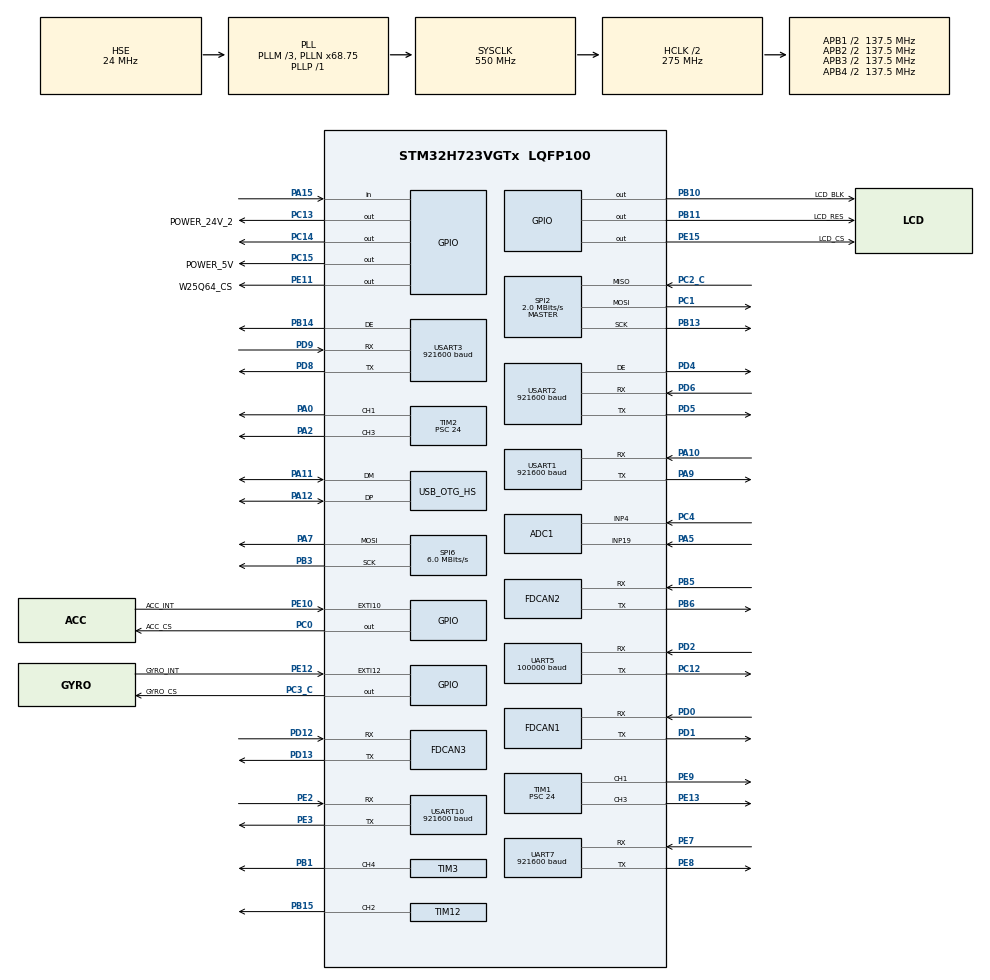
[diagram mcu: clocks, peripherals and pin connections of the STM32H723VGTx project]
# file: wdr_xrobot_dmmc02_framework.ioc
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ADC1.Channel-0\#ChannelRegularConversion=ADC_CHANNEL_4
ADC1.Channel-1\#ChannelRegularConversion=ADC_CHANNEL_19
ADC1.ClockPrescaler=ADC_CLOCK_ASYNC_DIV64
ADC1.ContinuousConvMode=ENABLE
ADC1.ConversionDataManagement=ADC_CONVERSIONDATA_DMA_CIRCULAR
ADC1.NbrOfConversion=2
ADC1.NbrOfConversionFlag=1
ADC1.OffsetNumber-0\#ChannelRegularConversion=ADC_OFFSET_NONE
ADC1.OffsetNumber-1\#ChannelRegularConversion=ADC_OFFSET_NONE
ADC1.OffsetSignedSaturation-0\#ChannelRegularConversion=DISABLE
ADC1.OffsetSignedSaturation-1\#ChannelRegularConversion=DISABLE
ADC1.Rank-0\#ChannelRegularConversion=1
ADC1.Rank-1\#ChannelRegularConversion=2
ADC1.SamplingTime-0\#ChannelRegularConversion=ADC_SAMPLETIME_32CYCLES_5
ADC1.SamplingTime-1\#ChannelRegularConversion=ADC_SAMPLETIME_32CYCLES_5
ADC1.master=1
ADC3.Channel-0\#ChannelRegularConversion=ADC_CHANNEL_TEMPSENSOR
ADC3.Channel-1\#ChannelRegularConversion=ADC_CHANNEL_VREFINT
ADC3.ClockPrescalerADC3=ADC_CLOCK_ASYNC_DIV4
ADC3.ContinuousConvMode=ENABLE
ADC3.ConversionDataManagement=ADC_CONVERSIONDATA_DMA_CIRCULAR
ADC3.DMAContinuousRequests=ENABLE
ADC3.NbrOfConversion=2
ADC3.NbrOfConversionFlag=1
ADC3.OffsetNumber-0\#ChannelRegularConversion=ADC_OFFSET_NONE
ADC3.OffsetNumber-1\#ChannelRegularConversion=ADC_OFFSET_NONE
ADC3.OffsetSign-0\#ChannelRegularConversion=ADC3_OFFSET_SIGN_NEGATIVE
ADC3.OffsetSign-1\#ChannelRegularConversion=ADC3_OFFSET_SIGN_NEGATIVE
ADC3.Rank-0\#ChannelRegularConversion=1
ADC3.Rank-1\#ChannelRegularConversion=2
ADC3.SamplingTime-0\#ChannelRegularConversion=ADC3_SAMPLETIME_247CYCLES_5
ADC3.SamplingTime-1\#ChannelRegularConversion=ADC3_SAMPLETIME_247CYCLES_5
Bdma.ADC3.1.Direction=DMA_PERIPH_TO_MEMORY
Bdma.ADC3.1.EventEnable=DISABLE
Bdma.ADC3.1.Instance=BDMA_Channel1
Bdma.ADC3.1.MemDataAlignment=DMA_MDATAALIGN_HALFWORD
Bdma.ADC3.1.MemInc=DMA_MINC_ENABLE
Bdma.ADC3.1.Mode=DMA_CIRCULAR
Bdma.ADC3.1.PeriphDataAlignment=DMA_PDATAALIGN_HALFWORD
Bdma.ADC3.1.PeriphInc=DMA_PINC_DISABLE
Bdma.ADC3.1.Polarity=HAL_DMAMUX_REQ_GEN_RISING
Bdma.ADC3.1.Priority=DMA_PRIORITY_LOW
Bdma.ADC3.1.RequestNumber=1
Bdma.ADC3.1.SignalID=NONE
Bdma.ADC3.1.SyncEnable=DISABLE
Bdma.ADC3.1.SyncPolarity=HAL_DMAMUX_SYNC_NO_EVENT
Bdma.ADC3.1.SyncRequestNumber=1
Bdma.ADC3.1.SyncSignalID=NONE
Bdma.Request0=SPI6_TX
Bdma.Request1=ADC3
Bdma.RequestsNb=2
Bdma.SPI6_TX.0.Direction=DMA_MEMORY_TO_PERIPH
Bdma.SPI6_TX.0.EventEnable=DISABLE
Bdma.SPI6_TX.0.Instance=BDMA_Channel0
Bdma.SPI6_TX.0.MemDataAlignment=DMA_MDATAALIGN_BYTE
Bdma.SPI6_TX.0.MemInc=DMA_MINC_ENABLE
Bdma.SPI6_TX.0.Mode=DMA_NORMAL
Bdma.SPI6_TX.0.PeriphDataAlignment=DMA_PDATAALIGN_BYTE
Bdma.SPI6_TX.0.PeriphInc=DMA_PINC_DISABLE
Bdma.SPI6_TX.0.Polarity=HAL_DMAMUX_REQ_GEN_RISING
Bdma.SPI6_TX.0.Priority=DMA_PRIORITY_LOW
Bdma.SPI6_TX.0.RequestNumber=1
Bdma.SPI6_TX.0.SignalID=NONE
Bdma.SPI6_TX.0.SyncEnable=DISABLE
Bdma.SPI6_TX.0.SyncPolarity=HAL_DMAMUX_SYNC_NO_EVENT
Bdma.SPI6_TX.0.SyncRequestNumber=1
Bdma.SPI6_TX.0.SyncSignalID=NONE
CORTEX_M7.CPU_DCache=Enabled
CORTEX_M7.CPU_ICache=Enabled
CORTEX_M7.Enable-Cortex_Memory_Protection_Unit_Region0_Settings=MPU_REGION_ENABLE
CORTEX_M7.MPU_Control=__NULL
CORTEX_M7.default_mode_Activation=1
DAC1.DAC_Channel-DAC_OUT2_Int=DAC_CHANNEL_2
Dma.ADC1.0.Direction=DMA_PERIPH_TO_MEMORY
Dma.ADC1.0.EventEnable=DISABLE
Dma.ADC1.0.FIFOMode=DMA_FIFOMODE_DISABLE
Dma.ADC1.0.Instance=DMA1_Stream0
Dma.ADC1.0.MemDataAlignment=DMA_MDATAALIGN_HALFWORD
Dma.ADC1.0.MemInc=DMA_MINC_ENABLE
Dma.ADC1.0.Mode=DMA_CIRCULAR
Dma.ADC1.0.PeriphDataAlignment=DMA_PDATAALIGN_HALFWORD
Dma.ADC1.0.PeriphInc=DMA_PINC_DISABLE
Dma.ADC1.0.Polarity=HAL_DMAMUX_REQ_GEN_RISING
Dma.ADC1.0.Priority=DMA_PRIORITY_LOW
Dma.ADC1.0.RequestNumber=1
Dma.ADC1.0.SignalID=NONE
Dma.ADC1.0.SyncEnable=DISABLE
Dma.ADC1.0.SyncPolarity=HAL_DMAMUX_SYNC_NO_EVENT
Dma.ADC1.0.SyncRequestNumber=1
Dma.ADC1.0.SyncSignalID=NONE
Dma.Request0=ADC1
Dma.Request1=SPI2_RX
Dma.Request10=USART3_TX
Dma.Request11=USART10_RX
Dma.Request12=USART10_TX
Dma.Request13=UART5_RX
Dma.Request2=SPI2_TX
Dma.Request3=UART7_RX
Dma.Request4=UART7_TX
Dma.Request5=USART1_RX
Dma.Request6=USART1_TX
Dma.Request7=USART2_RX
Dma.Request8=USART2_TX
Dma.Request9=USART3_RX
Dma.SPI2_RX.1.Direction=DMA_PERIPH_TO_MEMORY
Dma.SPI2_RX.1.EventEnable=DISABLE
Dma.SPI2_RX.1.FIFOMode=DMA_FIFOMODE_DISABLE
Dma.SPI2_RX.1.Instance=DMA1_Stream2
Dma.SPI2_RX.1.MemDataAlignment=DMA_MDATAALIGN_BYTE
Dma.SPI2_RX.1.MemInc=DMA_MINC_ENABLE
Dma.SPI2_RX.1.Mode=DMA_NORMAL
Dma.SPI2_RX.1.PeriphDataAlignment=DMA_PDATAALIGN_BYTE
Dma.SPI2_RX.1.PeriphInc=DMA_PINC_DISABLE
Dma.SPI2_RX.1.Polarity=HAL_DMAMUX_REQ_GEN_RISING
Dma.SPI2_RX.1.Priority=DMA_PRIORITY_LOW
Dma.SPI2_RX.1.RequestNumber=1
Dma.SPI2_RX.1.SignalID=NONE
Dma.SPI2_RX.1.SyncEnable=DISABLE
Dma.SPI2_RX.1.SyncPolarity=HAL_DMAMUX_SYNC_NO_EVENT
Dma.SPI2_RX.1.SyncRequestNumber=1
Dma.SPI2_RX.1.SyncSignalID=NONE
Dma.SPI2_TX.2.Direction=DMA_MEMORY_TO_PERIPH
Dma.SPI2_TX.2.EventEnable=DISABLE
Dma.SPI2_TX.2.FIFOMode=DMA_FIFOMODE_DISABLE
Dma.SPI2_TX.2.Instance=DMA1_Stream3
Dma.SPI2_TX.2.MemDataAlignment=DMA_MDATAALIGN_BYTE
Dma.SPI2_TX.2.MemInc=DMA_MINC_ENABLE
Dma.SPI2_TX.2.Mode=DMA_NORMAL
Dma.SPI2_TX.2.PeriphDataAlignment=DMA_PDATAALIGN_BYTE
Dma.SPI2_TX.2.PeriphInc=DMA_PINC_DISABLE
Dma.SPI2_TX.2.Polarity=HAL_DMAMUX_REQ_GEN_RISING
Dma.SPI2_TX.2.Priority=DMA_PRIORITY_LOW
Dma.SPI2_TX.2.RequestNumber=1
Dma.SPI2_TX.2.SignalID=NONE
Dma.SPI2_TX.2.SyncEnable=DISABLE
Dma.SPI2_TX.2.SyncPolarity=HAL_DMAMUX_SYNC_NO_EVENT
Dma.SPI2_TX.2.SyncRequestNumber=1
Dma.SPI2_TX.2.SyncSignalID=NONE
Dma.UART5_RX.13.Direction=DMA_PERIPH_TO_MEMORY
Dma.UART5_RX.13.EventEnable=DISABLE
Dma.UART5_RX.13.FIFOMode=DMA_FIFOMODE_DISABLE
Dma.UART5_RX.13.Instance=DMA1_Stream1
Dma.UART5_RX.13.MemDataAlignment=DMA_MDATAALIGN_BYTE
Dma.UART5_RX.13.MemInc=DMA_MINC_ENABLE
Dma.UART5_RX.13.Mode=DMA_NORMAL
Dma.UART5_RX.13.PeriphDataAlignment=DMA_PDATAALIGN_BYTE
Dma.UART5_RX.13.PeriphInc=DMA_PINC_DISABLE
Dma.UART5_RX.13.Polarity=HAL_DMAMUX_REQ_GEN_RISING
Dma.UART5_RX.13.Priority=DMA_PRIORITY_LOW
Dma.UART5_RX.13.RequestNumber=1
Dma.UART5_RX.13.SignalID=NONE
Dma.UART5_RX.13.SyncEnable=DISABLE
Dma.UART5_RX.13.SyncPolarity=HAL_DMAMUX_SYNC_NO_EVENT
Dma.UART5_RX.13.SyncRequestNumber=1
Dma.UART5_RX.13.SyncSignalID=NONE
Dma.UART7_RX.3.Direction=DMA_PERIPH_TO_MEMORY
Dma.UART7_RX.3.EventEnable=DISABLE
Dma.UART7_RX.3.FIFOMode=DMA_FIFOMODE_DISABLE
Dma.UART7_RX.3.Instance=DMA1_Stream4
Dma.UART7_RX.3.MemDataAlignment=DMA_MDATAALIGN_BYTE
Dma.UART7_RX.3.MemInc=DMA_MINC_ENABLE
Dma.UART7_RX.3.Mode=DMA_NORMAL
Dma.UART7_RX.3.PeriphDataAlignment=DMA_PDATAALIGN_BYTE
Dma.UART7_RX.3.PeriphInc=DMA_PINC_DISABLE
Dma.UART7_RX.3.Polarity=HAL_DMAMUX_REQ_GEN_RISING
Dma.UART7_RX.3.Priority=DMA_PRIORITY_LOW
Dma.UART7_RX.3.RequestNumber=1
Dma.UART7_RX.3.SignalID=NONE
Dma.UART7_RX.3.SyncEnable=DISABLE
Dma.UART7_RX.3.SyncPolarity=HAL_DMAMUX_SYNC_NO_EVENT
Dma.UART7_RX.3.SyncRequestNumber=1
Dma.UART7_RX.3.SyncSignalID=NONE
Dma.UART7_TX.4.Direction=DMA_MEMORY_TO_PERIPH
Dma.UART7_TX.4.EventEnable=DISABLE
Dma.UART7_TX.4.FIFOMode=DMA_FIFOMODE_DISABLE
Dma.UART7_TX.4.Instance=DMA1_Stream5
Dma.UART7_TX.4.MemDataAlignment=DMA_MDATAALIGN_BYTE
Dma.UART7_TX.4.MemInc=DMA_MINC_ENABLE
Dma.UART7_TX.4.Mode=DMA_NORMAL
Dma.UART7_TX.4.PeriphDataAlignment=DMA_PDATAALIGN_BYTE
Dma.UART7_TX.4.PeriphInc=DMA_PINC_DISABLE
Dma.UART7_TX.4.Polarity=HAL_DMAMUX_REQ_GEN_RISING
Dma.UART7_TX.4.Priority=DMA_PRIORITY_LOW
Dma.UART7_TX.4.RequestNumber=1
Dma.UART7_TX.4.SignalID=NONE
Dma.UART7_TX.4.SyncEnable=DISABLE
Dma.UART7_TX.4.SyncPolarity=HAL_DMAMUX_SYNC_NO_EVENT
Dma.UART7_TX.4.SyncRequestNumber=1
Dma.UART7_TX.4.SyncSignalID=NONE
Dma.USART10_RX.11.Direction=DMA_PERIPH_TO_MEMORY
Dma.USART10_RX.11.EventEnable=DISABLE
Dma.USART10_RX.11.FIFOMode=DMA_FIFOMODE_DISABLE
Dma.USART10_RX.11.Instance=DMA2_Stream4
Dma.USART10_RX.11.MemDataAlignment=DMA_MDATAALIGN_BYTE
Dma.USART10_RX.11.MemInc=DMA_MINC_ENABLE
Dma.USART10_RX.11.Mode=DMA_NORMAL
Dma.USART10_RX.11.PeriphDataAlignment=DMA_PDATAALIGN_BYTE
Dma.USART10_RX.11.PeriphInc=DMA_PINC_DISABLE
Dma.USART10_RX.11.Polarity=HAL_DMAMUX_REQ_GEN_RISING
Dma.USART10_RX.11.Priority=DMA_PRIORITY_LOW
Dma.USART10_RX.11.RequestNumber=1
Dma.USART10_RX.11.SignalID=NONE
Dma.USART10_RX.11.SyncEnable=DISABLE
Dma.USART10_RX.11.SyncPolarity=HAL_DMAMUX_SYNC_NO_EVENT
Dma.USART10_RX.11.SyncRequestNumber=1
Dma.USART10_RX.11.SyncSignalID=NONE
Dma.USART10_TX.12.Direction=DMA_MEMORY_TO_PERIPH
Dma.USART10_TX.12.EventEnable=DISABLE
Dma.USART10_TX.12.FIFOMode=DMA_FIFOMODE_DISABLE
Dma.USART10_TX.12.Instance=DMA2_Stream5
Dma.USART10_TX.12.MemDataAlignment=DMA_MDATAALIGN_BYTE
Dma.USART10_TX.12.MemInc=DMA_MINC_ENABLE
Dma.USART10_TX.12.Mode=DMA_NORMAL
Dma.USART10_TX.12.PeriphDataAlignment=DMA_PDATAALIGN_BYTE
Dma.USART10_TX.12.PeriphInc=DMA_PINC_DISABLE
Dma.USART10_TX.12.Polarity=HAL_DMAMUX_REQ_GEN_RISING
Dma.USART10_TX.12.Priority=DMA_PRIORITY_LOW
Dma.USART10_TX.12.RequestNumber=1
Dma.USART10_TX.12.SignalID=NONE
Dma.USART10_TX.12.SyncEnable=DISABLE
Dma.USART10_TX.12.SyncPolarity=HAL_DMAMUX_SYNC_NO_EVENT
Dma.USART10_TX.12.SyncRequestNumber=1
Dma.USART10_TX.12.SyncSignalID=NONE
Dma.USART1_RX.5.Direction=DMA_PERIPH_TO_MEMORY
Dma.USART1_RX.5.EventEnable=DISABLE
Dma.USART1_RX.5.FIFOMode=DMA_FIFOMODE_DISABLE
Dma.USART1_RX.5.Instance=DMA1_Stream6
Dma.USART1_RX.5.MemDataAlignment=DMA_MDATAALIGN_BYTE
Dma.USART1_RX.5.MemInc=DMA_MINC_ENABLE
Dma.USART1_RX.5.Mode=DMA_NORMAL
Dma.USART1_RX.5.PeriphDataAlignment=DMA_PDATAALIGN_BYTE
Dma.USART1_RX.5.PeriphInc=DMA_PINC_DISABLE
Dma.USART1_RX.5.Polarity=HAL_DMAMUX_REQ_GEN_RISING
Dma.USART1_RX.5.Priority=DMA_PRIORITY_LOW
Dma.USART1_RX.5.RequestNumber=1
Dma.USART1_RX.5.SignalID=NONE
Dma.USART1_RX.5.SyncEnable=DISABLE
Dma.USART1_RX.5.SyncPolarity=HAL_DMAMUX_SYNC_NO_EVENT
Dma.USART1_RX.5.SyncRequestNumber=1
Dma.USART1_RX.5.SyncSignalID=NONE
Dma.USART1_TX.6.Direction=DMA_MEMORY_TO_PERIPH
Dma.USART1_TX.6.EventEnable=DISABLE
Dma.USART1_TX.6.FIFOMode=DMA_FIFOMODE_DISABLE
Dma.USART1_TX.6.Instance=DMA1_Stream7
Dma.USART1_TX.6.MemDataAlignment=DMA_MDATAALIGN_BYTE
Dma.USART1_TX.6.MemInc=DMA_MINC_ENABLE
Dma.USART1_TX.6.Mode=DMA_NORMAL
Dma.USART1_TX.6.PeriphDataAlignment=DMA_PDATAALIGN_BYTE
Dma.USART1_TX.6.PeriphInc=DMA_PINC_DISABLE
Dma.USART1_TX.6.Polarity=HAL_DMAMUX_REQ_GEN_RISING
Dma.USART1_TX.6.Priority=DMA_PRIORITY_LOW
Dma.USART1_TX.6.RequestNumber=1
Dma.USART1_TX.6.SignalID=NONE
Dma.USART1_TX.6.SyncEnable=DISABLE
Dma.USART1_TX.6.SyncPolarity=HAL_DMAMUX_SYNC_NO_EVENT
Dma.USART1_TX.6.SyncRequestNumber=1
Dma.USART1_TX.6.SyncSignalID=NONE
Dma.USART2_RX.7.Direction=DMA_PERIPH_TO_MEMORY
Dma.USART2_RX.7.EventEnable=DISABLE
Dma.USART2_RX.7.FIFOMode=DMA_FIFOMODE_DISABLE
Dma.USART2_RX.7.Instance=DMA2_Stream0
Dma.USART2_RX.7.MemDataAlignment=DMA_MDATAALIGN_BYTE
Dma.USART2_RX.7.MemInc=DMA_MINC_ENABLE
Dma.USART2_RX.7.Mode=DMA_NORMAL
Dma.USART2_RX.7.PeriphDataAlignment=DMA_PDATAALIGN_BYTE
Dma.USART2_RX.7.PeriphInc=DMA_PINC_DISABLE
Dma.USART2_RX.7.Polarity=HAL_DMAMUX_REQ_GEN_RISING
Dma.USART2_RX.7.Priority=DMA_PRIORITY_LOW
Dma.USART2_RX.7.RequestNumber=1
Dma.USART2_RX.7.SignalID=NONE
Dma.USART2_RX.7.SyncEnable=DISABLE
Dma.USART2_RX.7.SyncPolarity=HAL_DMAMUX_SYNC_NO_EVENT
Dma.USART2_RX.7.SyncRequestNumber=1
Dma.USART2_RX.7.SyncSignalID=NONE
Dma.USART2_TX.8.Direction=DMA_MEMORY_TO_PERIPH
Dma.USART2_TX.8.EventEnable=DISABLE
Dma.USART2_TX.8.FIFOMode=DMA_FIFOMODE_DISABLE
Dma.USART2_TX.8.Instance=DMA2_Stream1
Dma.USART2_TX.8.MemDataAlignment=DMA_MDATAALIGN_BYTE
Dma.USART2_TX.8.MemInc=DMA_MINC_ENABLE
Dma.USART2_TX.8.Mode=DMA_NORMAL
Dma.USART2_TX.8.PeriphDataAlignment=DMA_PDATAALIGN_BYTE
Dma.USART2_TX.8.PeriphInc=DMA_PINC_DISABLE
Dma.USART2_TX.8.Polarity=HAL_DMAMUX_REQ_GEN_RISING
Dma.USART2_TX.8.Priority=DMA_PRIORITY_LOW
Dma.USART2_TX.8.RequestNumber=1
Dma.USART2_TX.8.SignalID=NONE
Dma.USART2_TX.8.SyncEnable=DISABLE
Dma.USART2_TX.8.SyncPolarity=HAL_DMAMUX_SYNC_NO_EVENT
Dma.USART2_TX.8.SyncRequestNumber=1
Dma.USART2_TX.8.SyncSignalID=NONE
Dma.USART3_RX.9.Direction=DMA_PERIPH_TO_MEMORY
Dma.USART3_RX.9.EventEnable=DISABLE
Dma.USART3_RX.9.FIFOMode=DMA_FIFOMODE_DISABLE
Dma.USART3_RX.9.Instance=DMA2_Stream2
Dma.USART3_RX.9.MemDataAlignment=DMA_MDATAALIGN_BYTE
Dma.USART3_RX.9.MemInc=DMA_MINC_ENABLE
Dma.USART3_RX.9.Mode=DMA_NORMAL
Dma.USART3_RX.9.PeriphDataAlignment=DMA_PDATAALIGN_BYTE
Dma.USART3_RX.9.PeriphInc=DMA_PINC_DISABLE
Dma.USART3_RX.9.Polarity=HAL_DMAMUX_REQ_GEN_RISING
Dma.USART3_RX.9.Priority=DMA_PRIORITY_LOW
Dma.USART3_RX.9.RequestNumber=1
Dma.USART3_RX.9.SignalID=NONE
Dma.USART3_RX.9.SyncEnable=DISABLE
Dma.USART3_RX.9.SyncPolarity=HAL_DMAMUX_SYNC_NO_EVENT
Dma.USART3_RX.9.SyncRequestNumber=1
Dma.USART3_RX.9.SyncSignalID=NONE
Dma.USART3_TX.10.Direction=DMA_MEMORY_TO_PERIPH
Dma.USART3_TX.10.EventEnable=DISABLE
Dma.USART3_TX.10.FIFOMode=DMA_FIFOMODE_DISABLE
Dma.USART3_TX.10.Instance=DMA2_Stream3
Dma.USART3_TX.10.MemDataAlignment=DMA_MDATAALIGN_BYTE
Dma.USART3_TX.10.MemInc=DMA_MINC_ENABLE
Dma.USART3_TX.10.Mode=DMA_NORMAL
Dma.USART3_TX.10.PeriphDataAlignment=DMA_PDATAALIGN_BYTE
Dma.USART3_TX.10.PeriphInc=DMA_PINC_DISABLE
Dma.USART3_TX.10.Polarity=HAL_DMAMUX_REQ_GEN_RISING
Dma.USART3_TX.10.Priority=DMA_PRIORITY_LOW
Dma.USART3_TX.10.RequestNumber=1
Dma.USART3_TX.10.SignalID=NONE
Dma.USART3_TX.10.SyncEnable=DISABLE
Dma.USART3_TX.10.SyncPolarity=HAL_DMAMUX_SYNC_NO_EVENT
Dma.USART3_TX.10.SyncRequestNumber=1
Dma.USART3_TX.10.SyncSignalID=NONE
FDCAN1.CalculateBaudRateNominal=999999
FDCAN1.CalculateTimeBitNominal=1000
FDCAN1.CalculateTimeQuantumNominal=90.90909090909092
FDCAN1.DataPrescaler=1
FDCAN1.DataSyncJumpWidth=1
FDCAN1.DataTimeSeg1=9
FDCAN1.DataTimeSeg2=1
FDCAN1.ExtFiltersNbr=1
FDCAN1.FrameFormat=FDCAN_FRAME_FD_BRS
FDCAN1.MessageRAMOffset=0
FDCAN1.NominalPrescaler=5
FDCAN1.NominalSyncJumpWidth=1
FDCAN1.NominalTimeSeg1=9
FDCAN1.NominalTimeSeg2=1
FDCAN1.RxBufferSize=FDCAN_DATA_BYTES_64
FDCAN1.RxBuffersNbr=0
FDCAN1.RxFifo0ElmtSize=FDCAN_DATA_BYTES_64
FDCAN1.RxFifo0ElmtsNbr=23
FDCAN1.RxFifo1ElmtSize=FDCAN_DATA_BYTES_64
FDCAN1.RxFifo1ElmtsNbr=0
FDCAN1.StdFiltersNbr=1
FDCAN1.TxElmtSize=FDCAN_DATA_BYTES_64
FDCAN1.TxFifoQueueElmtsNbr=23
FDCAN2.CalculateBaudRateNominal=999999
FDCAN2.CalculateTimeBitNominal=1000
FDCAN2.CalculateTimeQuantumNominal=90.90909090909092
FDCAN2.DataPrescaler=1
FDCAN2.DataSyncJumpWidth=1
FDCAN2.DataTimeSeg1=9
FDCAN2.DataTimeSeg2=1
FDCAN2.ExtFiltersNbr=1
FDCAN2.FrameFormat=FDCAN_FRAME_FD_BRS
FDCAN2.MessageRAMOffset=831
FDCAN2.NominalPrescaler=5
FDCAN2.NominalSyncJumpWidth=1
FDCAN2.NominalTimeSeg1=9
FDCAN2.NominalTimeSeg2=1
FDCAN2.RxBufferSize=FDCAN_DATA_BYTES_64
FDCAN2.RxBuffersNbr=0
FDCAN2.RxFifo0ElmtSize=FDCAN_DATA_BYTES_64
FDCAN2.RxFifo0ElmtsNbr=0
FDCAN2.RxFifo1ElmtSize=FDCAN_DATA_BYTES_64
FDCAN2.RxFifo1ElmtsNbr=23
FDCAN2.StdFiltersNbr=1
FDCAN2.TxBuffersNbr=0
FDCAN2.TxElmtSize=FDCAN_DATA_BYTES_64
FDCAN2.TxFifoQueueElmtsNbr=23
FDCAN3.CalculateBaudRateNominal=999999
FDCAN3.CalculateTimeBitNominal=1000
FDCAN3.CalculateTimeQuantumNominal=90.90909090909092
FDCAN3.DataPrescaler=1
FDCAN3.DataSyncJumpWidth=1
FDCAN3.DataTimeSeg1=9
FDCAN3.DataTimeSeg2=1
FDCAN3.ExtFiltersNbr=1
FDCAN3.FrameFormat=FDCAN_FRAME_FD_BRS
FDCAN3.MessageRAMOffset=1662
FDCAN3.Mode=FDCAN_MODE_NORMAL
FDCAN3.NominalPrescaler=5
FDCAN3.NominalSyncJumpWidth=1
FDCAN3.NominalTimeSeg1=9
FDCAN3.NominalTimeSeg2=1
FDCAN3.RxBufferSize=FDCAN_DATA_BYTES_64
FDCAN3.RxBuffersNbr=0
FDCAN3.RxFifo0ElmtSize=FDCAN_DATA_BYTES_64
FDCAN3.RxFifo0ElmtsNbr=0
FDCAN3.RxFifo1ElmtSize=FDCAN_DATA_BYTES_64
FDCAN3.RxFifo1ElmtsNbr=23
FDCAN3.StdFiltersNbr=1
FDCAN3.TxBuffersNbr=0
FDCAN3.TxElmtSize=FDCAN_DATA_BYTES_64
FDCAN3.TxFifoQueueElmtsNbr=23
FREERTOS.INCLUDE_eTaskGetState=1
FREERTOS.INCLUDE_uxTaskGetStackHighWaterMark=1
FREERTOS.INCLUDE_vTaskDelayUntil=1
FREERTOS.INCLUDE_xQueueGetMutexHolder=1
FREERTOS.INCLUDE_xTaskGetCurrentTaskHandle=1
FREERTOS.INCLUDE_xTaskGetSchedulerState=1
FREERTOS.INCLUDE_xTimerPendFunctionCall=0
FREERTOS.Tasks01=defaultTask,48,2048,StartDefaultTask,Default,NULL,Dynamic,NULL,NULL
FREERTOS.configCHECK_FOR_STACK_OVERFLOW=2
FREERTOS.configENABLE_BACKWARD_COMPATIBILITY=0
FREERTOS.configENABLE_FPU=1
FREERTOS.configRECORD_STACK_HIGH_ADDRESS=1
FREERTOS.configTOTAL_HEAP_SIZE=0x16800
FREERTOS.configUSE_COUNTING_SEMAPHORES=1
FREERTOS.configUSE_RECURSIVE_MUTEXES=1
FREERTOS.configUSE_TASK_NOTIFICATIONS=1
FREERTOS.configUSE_TIMERS=0
FREERTOS.configUSE_TRACE_FACILITY=1
Mcu.Family=STM32H7
Mcu.Name=STM32H723VGTx
Mcu.Package=LQFP100
NVIC.BDMA_Channel0_IRQn=true\:5\:0\:false\:false\:true\:true\:false\:true\:true
NVIC.BDMA_Channel1_IRQn=true\:5\:0\:true\:false\:true\:true\:true\:true\:true
NVIC.DMA1_Stream0_IRQn=true\:5\:0\:false\:false\:true\:false\:false\:true\:true
NVIC.DMA1_Stream1_IRQn=true\:5\:0\:false\:false\:true\:true\:false\:true\:true
NVIC.DMA1_Stream2_IRQn=true\:5\:0\:false\:false\:true\:true\:false\:true\:true
NVIC.DMA1_Stream3_IRQn=true\:5\:0\:false\:false\:true\:true\:false\:true\:true
NVIC.DMA1_Stream4_IRQn=true\:5\:0\:false\:false\:true\:true\:false\:true\:true
NVIC.DMA1_Stream5_IRQn=true\:5\:0\:false\:false\:true\:true\:false\:true\:true
NVIC.DMA1_Stream6_IRQn=true\:5\:0\:false\:false\:true\:true\:false\:true\:true
NVIC.DMA1_Stream7_IRQn=true\:5\:0\:false\:false\:true\:true\:false\:true\:true
NVIC.DMA2_Stream0_IRQn=true\:5\:0\:false\:false\:true\:true\:false\:true\:true
NVIC.DMA2_Stream1_IRQn=true\:5\:0\:false\:false\:true\:true\:false\:true\:true
NVIC.DMA2_Stream2_IRQn=true\:5\:0\:false\:false\:true\:true\:false\:true\:true
NVIC.DMA2_Stream3_IRQn=true\:5\:0\:false\:false\:true\:true\:false\:true\:true
NVIC.DMA2_Stream4_IRQn=true\:5\:0\:false\:false\:true\:true\:false\:true\:true
NVIC.DMA2_Stream5_IRQn=true\:5\:0\:false\:false\:true\:true\:false\:true\:true
NVIC.EXTI15_10_IRQn=true\:5\:0\:true\:false\:true\:true\:true\:true\:true
NVIC.FDCAN1_IT0_IRQn=true\:5\:0\:false\:false\:true\:true\:true\:true\:true
NVIC.FDCAN1_IT1_IRQn=true\:5\:0\:false\:false\:true\:true\:true\:true\:true
NVIC.FDCAN2_IT0_IRQn=true\:5\:0\:false\:false\:true\:true\:true\:true\:true
NVIC.FDCAN2_IT1_IRQn=true\:5\:0\:false\:false\:true\:true\:true\:true\:true
NVIC.FDCAN3_IT0_IRQn=true\:5\:0\:false\:false\:true\:true\:true\:true\:true
NVIC.FDCAN3_IT1_IRQn=true\:5\:0\:false\:false\:true\:true\:true\:true\:true
NVIC.OTG_HS_IRQn=true\:5\:0\:false\:false\:true\:true\:true\:true\:true
NVIC.PriorityGroup=NVIC_PRIORITYGROUP_4
NVIC.SPI2_IRQn=true\:5\:0\:false\:false\:true\:true\:false\:true\:true
NVIC.SPI6_IRQn=true\:5\:0\:false\:false\:true\:true\:true\:true\:true
NVIC.TIM4_IRQn=true\:0\:0\:false\:false\:true\:false\:false\:true\:true
NVIC.TimeBase=TIM4_IRQn
NVIC.TimeBaseIP=TIM4
NVIC.UART5_IRQn=true\:5\:0\:false\:false\:true\:true\:true\:true\:true
NVIC.UART7_IRQn=true\:5\:0\:true\:false\:true\:false\:true\:true\:true
NVIC.USART10_IRQn=true\:5\:0\:true\:false\:true\:false\:true\:true\:true
NVIC.USART1_IRQn=true\:5\:0\:true\:false\:true\:false\:true\:true\:true
NVIC.USART2_IRQn=true\:5\:0\:true\:false\:true\:false\:true\:true\:true
NVIC.USART3_IRQn=true\:5\:0\:true\:false\:true\:false\:true\:true\:true
PA0.Signal=S_TIM2_CH1_ETR
PA10.Mode=Asynchronous
PA10.Signal=USART1_RX
PA11.Mode=Device_Only_FS
PA11.Signal=USB_OTG_HS_DM
PA12.Mode=Device_Only_FS
PA12.Signal=USB_OTG_HS_DP
PA13(JTMS/SWDIO).Mode=Serial_Wire
PA13(JTMS/SWDIO).Signal=DEBUG_JTMS-SWDIO
PA14(JTCK/SWCLK).Mode=Serial_Wire
PA14(JTCK/SWCLK).Signal=DEBUG_JTCK-SWCLK
PA15(JTDI).Signal=GPIO_Input
PA2.Signal=S_TIM2_CH3
PA5.Signal=ADCx_INP19
PA7.Mode=TX_Only_Simplex_Unidirect_Master
PA7.Signal=SPI6_MOSI
PA9.Mode=Asynchronous
PA9.Signal=USART1_TX
PB1.Signal=S_TIM3_CH4
PB10.GPIO_Label=LCD_BLK
PB10.Signal=GPIO_Output
PB11.GPIO_Label=LCD_RES
PB11.Signal=GPIO_Output
PB13.GPIO_Speed=GPIO_SPEED_FREQ_VERY_HIGH
PB13.Mode=Full_Duplex_Master
PB13.Signal=SPI2_SCK
PB14.Mode=Hardware Flow Control (RS485)
PB14.Signal=USART3_DE
PB15.Signal=S_TIM12_CH2
PB3(JTDO/TRACESWO).Mode=TX_Only_Simplex_Unidirect_Master
PB3(JTDO/TRACESWO).Signal=SPI6_SCK
PB5.Mode=FDCAN_Activate
PB5.Signal=FDCAN2_RX
PB6.Mode=FDCAN_Activate
PB6.Signal=FDCAN2_TX
PC0.GPIO_Label=ACC_CS
PC0.GPIO_Speed=GPIO_SPEED_FREQ_VERY_HIGH
PC0.PinState=GPIO_PIN_SET
PC0.Signal=GPIO_Output
PC1.GPIO_Speed=GPIO_SPEED_FREQ_VERY_HIGH
PC1.Mode=Full_Duplex_Master
PC1.Signal=SPI2_MOSI
PC12.Mode=Asynchronous
PC12.Signal=UART5_TX
PC13.GPIO_Label=POWER_24V_2
PC13.PinState=GPIO_PIN_SET
PC13.Signal=GPIO_Output
PC14-OSC32_IN.Signal=GPIO_Output
PC15-OSC32_OUT.GPIO_Label=POWER_5V
PC15-OSC32_OUT.PinState=GPIO_PIN_SET
PC15-OSC32_OUT.Signal=GPIO_Output
PC2_C.GPIO_Speed=GPIO_SPEED_FREQ_VERY_HIGH
PC2_C.Mode=Full_Duplex_Master
PC2_C.Signal=SPI2_MISO
PC3_C.GPIO_Label=GYRO_CS
PC3_C.GPIO_Speed=GPIO_SPEED_FREQ_VERY_HIGH
PC3_C.PinState=GPIO_PIN_SET
PC3_C.Signal=GPIO_Output
PC4.Signal=ADCx_INP4
PD0.Mode=FDCAN_Activate
PD0.Signal=FDCAN1_RX
PD1.Mode=FDCAN_Activate
PD1.Signal=FDCAN1_TX
PD12.Mode=FDCAN_Activate
PD12.Signal=FDCAN3_RX
PD13.Mode=FDCAN_Activate
PD13.Signal=FDCAN3_TX
PD2.Mode=Asynchronous
PD2.Signal=UART5_RX
PD4.Mode=Hardware Flow Control (RS485)
PD4.Signal=USART2_DE
PD5.Mode=Asynchronous
PD5.Signal=USART2_TX
PD6.Mode=Asynchronous
PD6.Signal=USART2_RX
PD8.Mode=Asynchronous
PD8.Signal=USART3_TX
PD9.Mode=Asynchronous
PD9.Signal=USART3_RX
PE10.GPIO_Label=ACC_INT
PE10.GPIO_PuPd=GPIO_NOPULL
PE10.Signal=GPXTI10
PE11.GPIO_Label=W25Q64_CS
PE11.Signal=GPIO_Output
PE12.GPIO_Label=GYRO_INT
PE12.Signal=GPXTI12
PE13.Signal=S_TIM1_CH3
PE15.GPIO_Label=LCD_CS
PE15.Signal=GPIO_Output
PE2.Mode=Asynchronous
PE2.Signal=USART10_RX
PE3.Mode=Asynchronous
PE3.Signal=USART10_TX
PE7.Mode=Asynchronous
PE7.Signal=UART7_RX
PE8.Mode=Asynchronous
PE8.Signal=UART7_TX
PE9.Signal=S_TIM1_CH1
PH0-OSC_IN.Mode=HSE-External-Oscillator
PH0-OSC_IN.Signal=RCC_OSC_IN
PH1-OSC_OUT.Mode=HSE-External-Oscillator
PH1-OSC_OUT.Signal=RCC_OSC_OUT
ProjectManager.HeapSize=0x200
ProjectManager.StackSize=0x800
ProjectManager.TargetToolchain=CMake
RCC.ADCFreq_Value=64000000
RCC.APB1Freq_Value=137500000
RCC.APB2Freq_Value=137500000
RCC.APB3Freq_Value=137500000
RCC.APB4Freq_Value=137500000
RCC.CortexFreq_Value=550000000
RCC.D1PPRE=RCC_APB3_DIV2
RCC.D2PPRE1=RCC_APB1_DIV2
RCC.D2PPRE2=RCC_APB2_DIV2
RCC.D3PPRE=RCC_APB4_DIV2
RCC.DIVM1=3
RCC.DIVM2=2
RCC.DIVN1=68
RCC.DIVN2=16
RCC.DIVN3=128
RCC.DIVP1=1
RCC.DIVP2=3
RCC.DIVP3=4
RCC.DIVQ1=10
RCC.HCLKFreq_Value=275000000
RCC.HPRE=RCC_HCLK_DIV2
RCC.HSE_VALUE=24000000
RCC.PLL2FRACN=0
RCC.PLL2_VCI_Range-AdvancedSettings=RCC_PLL2VCIRANGE_0
RCC.PLL2_VCO_SEL-AdvancedSettings=RCC_PLL2VCOWIDE
RCC.PLL3FRACN=0
RCC.PLL3_VCO_SEL-AdvancedSettings=RCC_PLL3VCOMEDIUM
RCC.PLLFRACN=6144
RCC.PLLSourceVirtual=RCC_PLLSOURCE_HSE
RCC.SPI123CLockSelection=RCC_SPI123CLKSOURCE_PLL2
RCC.SPI6CLockSelection=RCC_SPI6CLKSOURCE_HSE
RCC.SYSCLKFreq_VALUE=550000000
RCC.SYSCLKSource=RCC_SYSCLKSOURCE_PLLCLK
RCC.USBCLockSelection=RCC_USBCLKSOURCE_HSI48
RCC.USBFreq_Value=48000000
SH.ADCx_INP19.0=ADC1_INP19,IN19-Single-Ended
SH.ADCx_INP4.0=ADC1_INP4,IN4-Single-Ended
SH.S_TIM12_CH2.0=TIM12_CH2,PWM Generation2 CH2
SH.S_TIM1_CH1.0=TIM1_CH1,PWM Generation1 CH1
SH.S_TIM1_CH3.0=TIM1_CH3,PWM Generation3 CH3
SH.S_TIM2_CH1_ETR.0=TIM2_CH1,PWM Generation1 CH1
SH.S_TIM2_CH3.0=TIM2_CH3,PWM Generation3 CH3
SH.S_TIM3_CH4.0=TIM3_CH4,PWM Generation4 CH4
SPI2.BaudRatePrescaler=SPI_BAUDRATEPRESCALER_32
SPI2.CLKPhase=SPI_PHASE_2EDGE
SPI2.CLKPolarity=SPI_POLARITY_HIGH
SPI2.CalculateBaudRate=2.0 MBits/s
SPI2.DataSize=SPI_DATASIZE_8BIT
SPI2.Direction=SPI_DIRECTION_2LINES
SPI2.Mode=SPI_MODE_MASTER
SPI2.VirtualType=VM_MASTER
SPI6.BaudRatePrescaler=SPI_BAUDRATEPRESCALER_4
SPI6.CLKPhase=SPI_PHASE_2EDGE
SPI6.CalculateBaudRate=6.0 MBits/s
SPI6.DataSize=SPI_DATASIZE_8BIT
SPI6.Direction=SPI_DIRECTION_2LINES_TXONLY
SPI6.Mode=SPI_MODE_MASTER
SPI6.VirtualType=VM_MASTER
TIM1.Channel-PWM\ Generation1\ CH1=TIM_CHANNEL_1
TIM1.Channel-PWM\ Generation3\ CH3=TIM_CHANNEL_3
TIM1.Period=10000
TIM1.Prescaler=24
TIM1.Pulse-PWM\ Generation1\ CH1=5000
TIM1.Pulse-PWM\ Generation3\ CH3=5000
TIM12.Channel-PWM\ Generation2\ CH2=TIM_CHANNEL_2
TIM12.Period=2000-1
TIM12.Prescaler=24-1
TIM2.Channel-PWM\ Generation1\ CH1=TIM_CHANNEL_1
TIM2.Channel-PWM\ Generation3\ CH3=TIM_CHANNEL_3
TIM2.Period=10000
TIM2.Prescaler=24
TIM2.Pulse-PWM\ Generation1\ CH1=5000
TIM2.Pulse-PWM\ Generation3\ CH3=5000
TIM3.AutoReloadPreload=TIM_AUTORELOAD_PRELOAD_ENABLE
TIM3.Channel-PWM\ Generation4\ CH4=TIM_CHANNEL_4
TIM3.Period=10000-1
TIM3.Prescaler=24-1
UART5.BaudRate=100000
UART5.Mode=MODE_RX
UART5.Parity=PARITY_EVEN
UART5.WordLength=WORDLENGTH_9B
UART7.BaudRate=921600
USART1.BaudRate=921600
USART1.VirtualMode-Asynchronous=VM_ASYNC
USART10.BaudRate=921600
USART10.VirtualMode=VM_ASYNC
USART2.BaudRate=921600
USART2.VirtualMode-Asynchronous=VM_ASYNC
USART2.VirtualMode-Hardware\ Flow\ Control\ (RS485)=VM_ASYNC
USART3.BaudRate=921600
USART3.VirtualMode-Asynchronous=VM_ASYNC
USART3.VirtualMode-Hardware\ Flow\ Control\ (RS485)=VM_ASYNC
USB_OTG_HS.VirtualMode-Device_Only_FS=Device_Only_FS
USB_OTG_HS.dma_enable-Device_Only_FS=ENABLE
VP_ADC3_TempSens_Input.Mode=IN-TempSens
VP_ADC3_Vref_Input.Mode=IN-Vrefint
VP_DAC1_VS_DACI2.Mode=DAC_OUT2_Int
VP_FREERTOS_VS_CMSIS_V2.Mode=CMSIS_V2
VP_MEMORYMAP_VS_MEMORYMAP.Mode=CurAppReg
VP_SYS_VS_tim4.Mode=TIM4
board=custom

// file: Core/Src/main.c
/* USER CODE BEGIN Header */
/**
  ******************************************************************************
  * @file           : main.c
  * @brief          : Main program body
  ******************************************************************************
  * @attention
  *
  * Copyright (c) 2025 STMicroelectronics.
  * All rights reserved.
  *
  * This software is licensed under terms that can be found in the LICENSE file
  * in the root directory of this software component.
  * If no LICENSE file comes with this software, it is provided AS-IS.
  *
  ******************************************************************************
  */
/* USER CODE END Header */
#include "main.h"
#include "FreeRTOS.h"
#include "cmsis_os2.h"
#include "adc.h"
#include "bdma.h"
#include "dac.h"
#include "dma.h"
#include "fdcan.h"
#include "spi.h"
#include "tim.h"
#include "usart.h"
#include "usb_otg.h"
#include "gpio.h"

/* USER CODE BEGIN Includes */
#include <string.h>

/* USER CODE END Includes */

/* USER CODE BEGIN PV */
extern unsigned char __axi_ram_start__[];
extern unsigned char __axi_ram_end__[];
extern unsigned char __ram_d3_start__[];
extern unsigned char __ram_d3_end__[];

/* USER CODE END PV */

void SystemClock_Config(void);
void PeriphCommonClock_Config(void);
void MX_FREERTOS_Init(void);

int main(void)
{

  /* Enable the CPU Cache */

  /* Enable I-Cache---------------------------------------------------------*/
  SCB_EnableICache();

  /* Enable D-Cache---------------------------------------------------------*/
  SCB_EnableDCache();

  /* MCU Configuration--------------------------------------------------------*/

  /* Reset of all peripherals, Initializes the Flash interface and the Systick. */
  HAL_Init();

  /* Configure the system clock */
  SystemClock_Config();

  /* Configure the peripherals common clocks */
  PeriphCommonClock_Config();

  /* Initialize all configured peripherals */
  MX_GPIO_Init();
  MX_DMA_Init();
  MX_BDMA_Init();
  MX_ADC1_Init();
  MX_TIM12_Init();
  MX_SPI6_Init();
  MX_SPI2_Init();
  MX_TIM3_Init();
  MX_USART1_UART_Init();
  MX_USART2_UART_Init();
  MX_USART3_UART_Init();
  MX_UART7_Init();
  MX_USART10_UART_Init();
  MX_FDCAN1_Init();
  MX_FDCAN2_Init();
  MX_FDCAN3_Init();
  MX_TIM1_Init();
  MX_TIM2_Init();
  MX_DAC1_Init();
  MX_USB_OTG_HS_PCD_Init();
  MX_UART5_Init();
  MX_ADC3_Init();
  /* USER CODE BEGIN 2 */
  /* DMA scratch sections are NOLOAD; prepare them before constructing drivers. */
  const size_t axi_size = (size_t)((uintptr_t)__axi_ram_end__ - (uintptr_t)__axi_ram_start__);
  memset(__axi_ram_start__, 0, axi_size);
  SCB_CleanInvalidateDCache_by_Addr((uint32_t *)__axi_ram_start__, (int32_t)axi_size);
  const size_t d3_size = (size_t)((uintptr_t)__ram_d3_end__ - (uintptr_t)__ram_d3_start__);
  memset(__ram_d3_start__, 0, d3_size);
  SCB_CleanInvalidateDCache_by_Addr((uint32_t *)__ram_d3_start__, (int32_t)d3_size);
  /* USER CODE END 2 */

  /* Init scheduler */
  osKernelInitialize();  /* Call init function for freertos objects (in cmsis_os2.c) */
  MX_FREERTOS_Init();

  /* Start scheduler */
  osKernelStart();

  /* We should never get here as control is now taken by the scheduler */

  /* Infinite loop */
  while (1)
  {

  }
}

void SystemClock_Config(void)
{
  RCC_OscInitTypeDef RCC_OscInitStruct = {0};
  RCC_ClkInitTypeDef RCC_ClkInitStruct = {0};

  /** Supply configuration update enable
  */
  HAL_PWREx_ConfigSupply(PWR_LDO_SUPPLY);

  /** Configure the main internal regulator output voltage
  */
  __HAL_PWR_VOLTAGESCALING_CONFIG(PWR_REGULATOR_VOLTAGE_SCALE0);

  while(!__HAL_PWR_GET_FLAG(PWR_FLAG_VOSRDY)) {}

  /** Initializes the RCC Oscillators according to the specified parameters
  * in the RCC_OscInitTypeDef structure.
  */
  RCC_OscInitStruct.OscillatorType = RCC_OSCILLATORTYPE_HSI48|RCC_OSCILLATORTYPE_HSE;
  RCC_OscInitStruct.HSEState = RCC_HSE_ON;
  RCC_OscInitStruct.HSI48State = RCC_HSI48_ON;
  RCC_OscInitStruct.PLL.PLLState = RCC_PLL_ON;
  RCC_OscInitStruct.PLL.PLLSource = RCC_PLLSOURCE_HSE;
  RCC_OscInitStruct.PLL.PLLM = 3;
  RCC_OscInitStruct.PLL.PLLN = 68;
  RCC_OscInitStruct.PLL.PLLP = 1;
  RCC_OscInitStruct.PLL.PLLQ = 10;
  RCC_OscInitStruct.PLL.PLLR = 2;
  RCC_OscInitStruct.PLL.PLLRGE = RCC_PLL1VCIRANGE_3;
  RCC_OscInitStruct.PLL.PLLVCOSEL = RCC_PLL1VCOWIDE;
  RCC_OscInitStruct.PLL.PLLFRACN = 6144;
  if (HAL_RCC_OscConfig(&RCC_OscInitStruct) != HAL_OK)
  {
    Error_Handler();
  }

  /** Initializes the CPU, AHB and APB buses clocks
  */
  RCC_ClkInitStruct.ClockType = RCC_CLOCKTYPE_HCLK|RCC_CLOCKTYPE_SYSCLK
                              |RCC_CLOCKTYPE_PCLK1|RCC_CLOCKTYPE_PCLK2
                              |RCC_CLOCKTYPE_D3PCLK1|RCC_CLOCKTYPE_D1PCLK1;
  RCC_ClkInitStruct.SYSCLKSource = RCC_SYSCLKSOURCE_PLLCLK;
  RCC_ClkInitStruct.SYSCLKDivider = RCC_SYSCLK_DIV1;
  RCC_ClkInitStruct.AHBCLKDivider = RCC_HCLK_DIV2;
  RCC_ClkInitStruct.APB3CLKDivider = RCC_APB3_DIV2;
  RCC_ClkInitStruct.APB1CLKDivider = RCC_APB1_DIV2;
  RCC_ClkInitStruct.APB2CLKDivider = RCC_APB2_DIV2;
  RCC_ClkInitStruct.APB4CLKDivider = RCC_APB4_DIV2;

  if (HAL_RCC_ClockConfig(&RCC_ClkInitStruct, FLASH_LATENCY_3) != HAL_OK)
  {
    Error_Handler();
  }
}

void PeriphCommonClock_Config(void)
{
  RCC_PeriphCLKInitTypeDef PeriphClkInitStruct = {0};

  /** Initializes the peripherals clock
  */
  PeriphClkInitStruct.PeriphClockSelection = RCC_PERIPHCLK_ADC|RCC_PERIPHCLK_SPI2;
  PeriphClkInitStruct.PLL2.PLL2M = 2;
  PeriphClkInitStruct.PLL2.PLL2N = 16;
  PeriphClkInitStruct.PLL2.PLL2P = 3;
  PeriphClkInitStruct.PLL2.PLL2Q = 2;
  PeriphClkInitStruct.PLL2.PLL2R = 2;
  PeriphClkInitStruct.PLL2.PLL2RGE = RCC_PLL2VCIRANGE_3;
  PeriphClkInitStruct.PLL2.PLL2VCOSEL = RCC_PLL2VCOWIDE;
  PeriphClkInitStruct.PLL2.PLL2FRACN = 0;
  PeriphClkInitStruct.Spi123ClockSelection = RCC_SPI123CLKSOURCE_PLL2;
  PeriphClkInitStruct.AdcClockSelection = RCC_ADCCLKSOURCE_PLL2;
  if (HAL_RCCEx_PeriphCLKConfig(&PeriphClkInitStruct) != HAL_OK)
  {
    Error_Handler();
  }
}

void HAL_TIM_PeriodElapsedCallback(TIM_HandleTypeDef *htim)
{
  if (htim->Instance == TIM4)
  {
    HAL_IncTick();
  }
}

void Error_Handler(void)
{
  __disable_irq();
  while (1)
  {
  }
}

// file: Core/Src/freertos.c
/* USER CODE BEGIN Header */
/**
 ******************************************************************************
 * File Name          : freertos.c
 * Description        : Code for freertos applications
 ******************************************************************************
 * @attention
 *
 * Copyright (c) 2025 STMicroelectronics.
 * All rights reserved.
 *
 * This software is licensed under terms that can be found in the LICENSE file
 * in the root directory of this software component.
 * If no LICENSE file comes with this software, it is provided AS-IS.
 *
 ******************************************************************************
 */
/* USER CODE END Header */

#include "FreeRTOS.h"
#include "task.h"
#include "main.h"
#include "FreeRTOS.h"
#include "cmsis_os2.h"

/* USER CODE BEGIN Includes */
#include <stdbool.h>

#include "app_main.h"
/* USER CODE END Includes */

/* USER CODE BEGIN Variables */
/* RTOS 堆池固定在 DTCM：任务栈全部从这里分配，需零等待与确定性。DTCM 放不下的全局
   变量按 ST AN4891 放到 AXI SRAM，而不是把堆或栈搬出 DTCM。
   The RTOS heap pool is pinned in DTCM: every task stack is carved from it, so it needs
   zero-wait deterministic access. Globals that do not fit in DTCM go to AXI SRAM per
   ST AN4891, rather than moving the heap or stacks out of DTCM. */
uint8_t ucHeap[configTOTAL_HEAP_SIZE] __attribute__((section(".dtcmram"), aligned(8)));
/* USER CODE END Variables */
/* Definitions for defaultTask */
osThreadId_t defaultTaskHandle;
const osThreadAttr_t defaultTask_attributes = {
  .name = "defaultTask",
  .stack_size = 2048 * 4,
  .priority = (osPriority_t) osPriorityRealtime,
};

void StartDefaultTask(void *argument);

void MX_FREERTOS_Init(void); /* (MISRA C 2004 rule 8.1) */

/* Hook prototypes */
void vApplicationStackOverflowHook(TaskHandle_t xTask, char *pcTaskName);

/* USER CODE BEGIN 4 */
/* 栈溢出时进入 LibXR 的错误处理；强定义覆盖 CubeMX、CMSIS-RTOS2 和 LibXR 中的弱定义。
   A stack overflow goes to LibXR's error handling; this strong definition overrides the weak
   ones of CubeMX, CMSIS-RTOS2 and LibXR. */
extern void libxr_fatal_error(const char *file, uint32_t line, bool in_isr);

void vApplicationStackOverflowHook(TaskHandle_t xTask, char *pcTaskName)
{
  (void)xTask;
  (void)pcTaskName;
  taskDISABLE_INTERRUPTS();
  libxr_fatal_error(__FILE__, __LINE__, false);
}
/* USER CODE END 4 */

void MX_FREERTOS_Init(void) {

  /* Create the thread(s) */
  /* creation of defaultTask */
  defaultTaskHandle = osThreadNew(StartDefaultTask, NULL, &defaultTask_attributes);

}

void StartDefaultTask(void *argument)
{
  /* USER CODE BEGIN StartDefaultTask */
  app_main();
  /* Infinite loop */
  for (;;) {
    osDelay(1);
  }
  /* USER CODE END StartDefaultTask */
}
